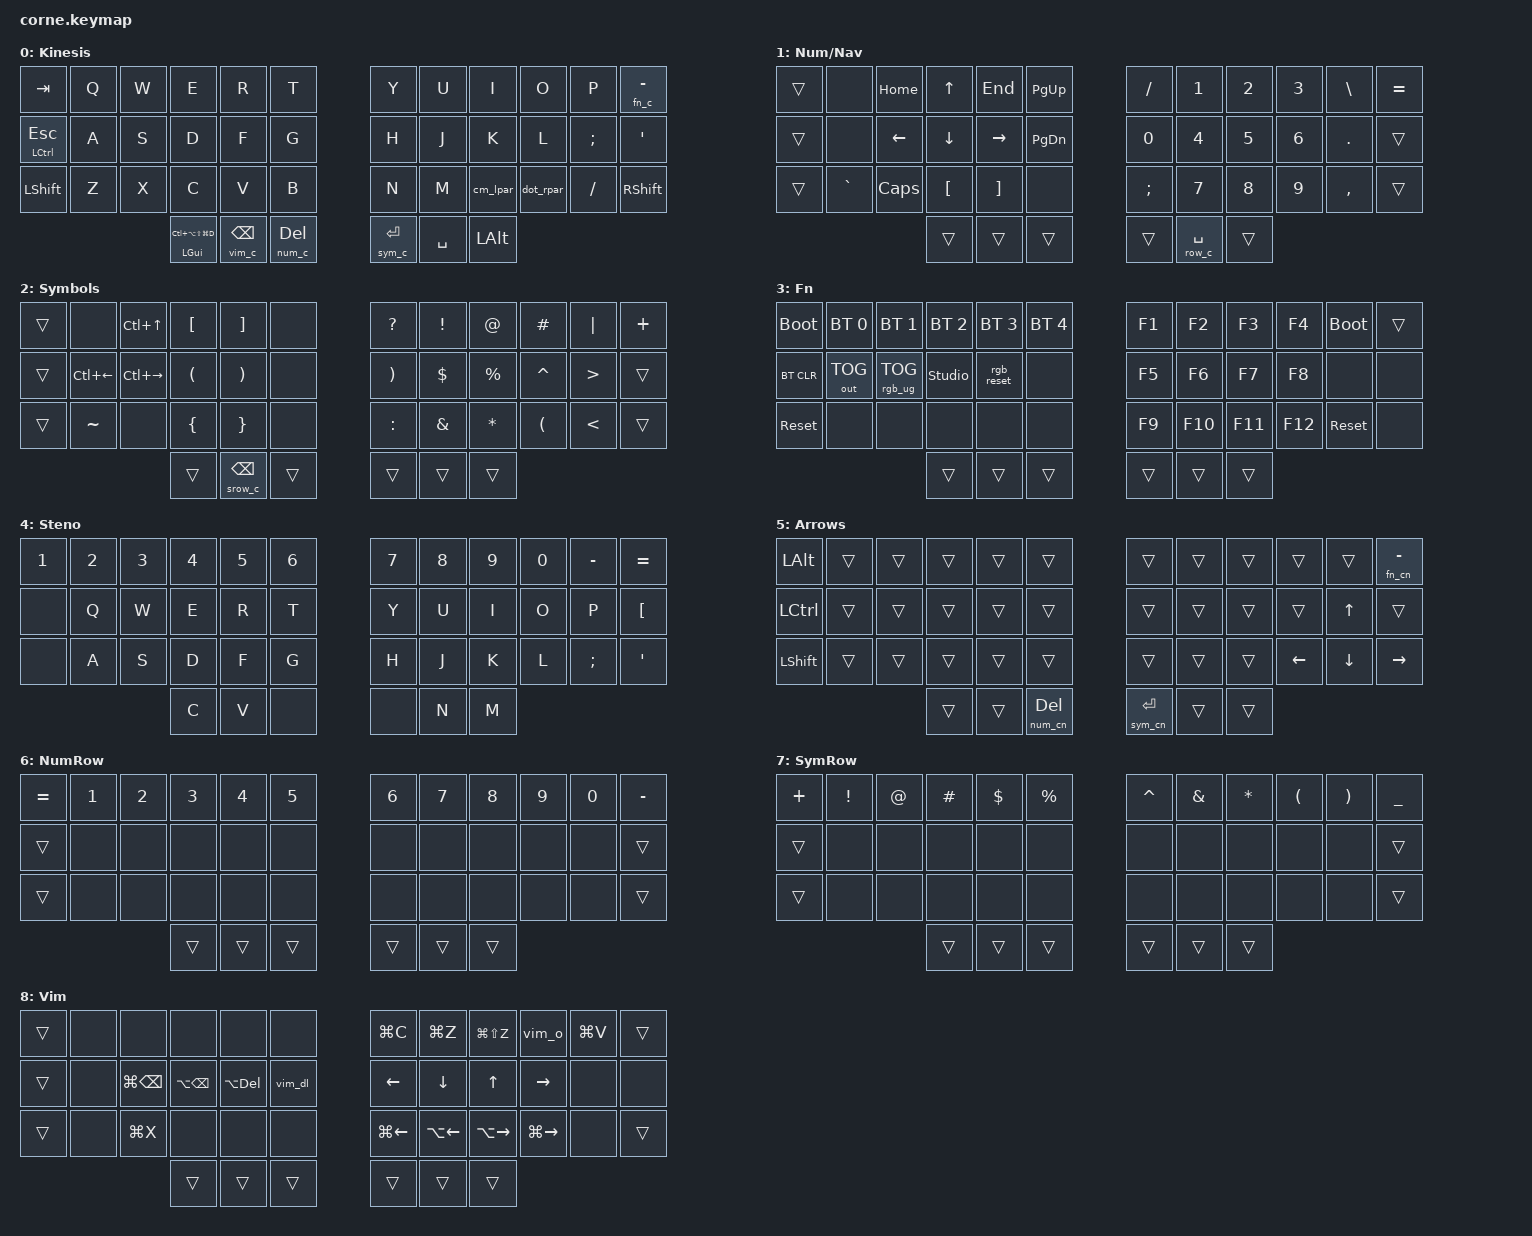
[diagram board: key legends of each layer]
/*
 * Copyright (c) 2020 The ZMK Contributors
 *
 * SPDX-License-Identifier: MIT
 */

#include <behaviors.dtsi>
#include <dt-bindings/zmk/bt.h>
#include <dt-bindings/zmk/keys.h>
#include <dt-bindings/zmk/outputs.h>
#include <dt-bindings/zmk/rgb.h>

#define BASE 0
#define NUM 1
#define SYM 2
#define FN 3
#define STENO 4
#define NAV 5
#define ROW 6
#define SROW 7
#define VIM 8

// Layer signals for the viewer app (viewer/): each layer has a consumer key that
// macOS ignores. Held layers keep theirs down for as long as they are held;
// locked layers (and the way back to base) tap theirs once.
#define SIG_BASE C_MEDIA_TV
#define SIG_NUM C_MEDIA_VCR
#define SIG_SYM C_MEDIA_TUNER
#define SIG_FN C_MEDIA_TAPE
#define SIG_STENO C_MEDIA_CABLE
#define SIG_NAV C_MEDIA_SATELLITE
#define SIG_ROW C_MEDIA_GAMES
#define SIG_SROW C_MEDIA_CD
#define SIG_VIM C_MEDIA_DVD

&mt {
    flavor = "balanced";
    tapping-term-ms = <200>;
    quick-tap-ms = <175>;
};

&lt {
    flavor = "balanced";
    tapping-term-ms = <200>;
    quick-tap-ms = <175>;
};

/ {
    // Layer colours: lights stay off while typing (base) and come on in the
    // layer's colour on any other layer, to save the battery (2026-11-21).
    macros {
        num_c: num_colour {
            compatible = "zmk,behavior-macro";
            #binding-cells = <0>;
            wait-ms = <0>;
            tap-ms = <0>;
            bindings = <&macro_tap &rgb_ug RGB_COLOR_HSB(240,100,25) &rgb_ug RGB_ON>,
                       <&macro_press &mo NUM &kp SIG_NUM>,
                       <&macro_pause_for_release>,
                       <&macro_release &mo NUM &kp SIG_NUM>,
                       <&macro_tap &rgb_ug RGB_OFF>;
        };

        sym_c: sym_colour {
            compatible = "zmk,behavior-macro";
            #binding-cells = <0>;
            wait-ms = <0>;
            tap-ms = <0>;
            bindings = <&macro_tap &rgb_ug RGB_COLOR_HSB(30,100,25) &rgb_ug RGB_ON>,
                       <&macro_press &mo SYM &kp SIG_SYM>,
                       <&macro_pause_for_release>,
                       <&macro_release &mo SYM &kp SIG_SYM>,
                       <&macro_tap &rgb_ug RGB_OFF>;
        };

        // the top-row layers are reached from Num / Symbols, so they fall back to
        // that layer's colour
        row_c: row_colour {
            compatible = "zmk,behavior-macro";
            #binding-cells = <0>;
            wait-ms = <0>;
            tap-ms = <0>;
            bindings = <&macro_tap &rgb_ug RGB_COLOR_HSB(60,100,25) &rgb_ug RGB_ON>,
                       <&macro_press &mo ROW &kp SIG_ROW>,
                       <&macro_pause_for_release>,
                       <&macro_release &mo ROW &kp SIG_ROW>,
                       <&macro_tap &rgb_ug RGB_COLOR_HSB(240,100,25) &rgb_ug RGB_ON>;
        };

        srow_c: sym_row_colour {
            compatible = "zmk,behavior-macro";
            #binding-cells = <0>;
            wait-ms = <0>;
            tap-ms = <0>;
            bindings = <&macro_tap &rgb_ug RGB_COLOR_HSB(330,100,25) &rgb_ug RGB_ON>,
                       <&macro_press &mo SROW &kp SIG_SROW>,
                       <&macro_pause_for_release>,
                       <&macro_release &mo SROW &kp SIG_SROW>,
                       <&macro_tap &rgb_ug RGB_COLOR_HSB(30,100,25) &rgb_ug RGB_ON>;
        };

        fn_c: fn_colour {
            compatible = "zmk,behavior-macro";
            #binding-cells = <0>;
            wait-ms = <0>;
            tap-ms = <0>;
            bindings = <&macro_tap &rgb_ug RGB_COLOR_HSB(280,100,25) &rgb_ug RGB_ON>,
                       <&macro_press &mo FN &kp SIG_FN>,
                       <&macro_pause_for_release>,
                       <&macro_release &mo FN &kp SIG_FN>,
                       <&macro_tap &rgb_ug RGB_OFF>;
        };

        steno_on: steno_on {
            compatible = "zmk,behavior-macro";
            #binding-cells = <0>;
            bindings = <&rgb_ug RGB_COLOR_HSB(120,100,25)>, <&rgb_ug RGB_ON>, <&to STENO>, <&kp SIG_STENO>;
        };

        steno_off: steno_off {
            compatible = "zmk,behavior-macro";
            #binding-cells = <0>;
            bindings = <&rgb_ug RGB_OFF>, <&to BASE>, <&kp SIG_BASE>;
        };

        nav_on: nav_on {
            compatible = "zmk,behavior-macro";
            #binding-cells = <0>;
            bindings = <&rgb_ug RGB_COLOR_HSB(180,100,25)>, <&rgb_ug RGB_ON>, <&to NAV>, <&kp SIG_NAV>;
        };

        nav_off: nav_off {
            compatible = "zmk,behavior-macro";
            #binding-cells = <0>;
            bindings = <&rgb_ug RGB_OFF>, <&to BASE>, <&kp SIG_BASE>;
        };

        // same as num_c / sym_c / fn_c, but fall back to the NAV colour on release
        num_cn: num_colour_nav {
            compatible = "zmk,behavior-macro";
            #binding-cells = <0>;
            wait-ms = <0>;
            tap-ms = <0>;
            bindings = <&macro_tap &rgb_ug RGB_COLOR_HSB(240,100,25) &rgb_ug RGB_ON>,
                       <&macro_press &mo NUM &kp SIG_NUM>,
                       <&macro_pause_for_release>,
                       <&macro_release &mo NUM &kp SIG_NUM>,
                       <&macro_tap &rgb_ug RGB_COLOR_HSB(180,100,25) &rgb_ug RGB_ON>;
        };

        sym_cn: sym_colour_nav {
            compatible = "zmk,behavior-macro";
            #binding-cells = <0>;
            wait-ms = <0>;
            tap-ms = <0>;
            bindings = <&macro_tap &rgb_ug RGB_COLOR_HSB(30,100,25) &rgb_ug RGB_ON>,
                       <&macro_press &mo SYM &kp SIG_SYM>,
                       <&macro_pause_for_release>,
                       <&macro_release &mo SYM &kp SIG_SYM>,
                       <&macro_tap &rgb_ug RGB_COLOR_HSB(180,100,25) &rgb_ug RGB_ON>;
        };

        fn_cn: fn_colour_nav {
            compatible = "zmk,behavior-macro";
            #binding-cells = <0>;
            wait-ms = <0>;
            tap-ms = <0>;
            bindings = <&macro_tap &rgb_ug RGB_COLOR_HSB(280,100,25) &rgb_ug RGB_ON>,
                       <&macro_press &mo FN &kp SIG_FN>,
                       <&macro_pause_for_release>,
                       <&macro_release &mo FN &kp SIG_FN>,
                       <&macro_tap &rgb_ug RGB_COLOR_HSB(180,100,25) &rgb_ug RGB_ON>;
        };

        // hold BSPC: the Vim layer (red); same shape as num_c, lights back off on release
        vim_c: vim_colour {
            compatible = "zmk,behavior-macro";
            #binding-cells = <0>;
            wait-ms = <0>;
            tap-ms = <0>;
            bindings = <&macro_tap &rgb_ug RGB_COLOR_HSB(0,100,25) &rgb_ug RGB_ON>,
                       <&macro_press &mo VIM &kp SIG_VIM>,
                       <&macro_pause_for_release>,
                       <&macro_release &mo VIM &kp SIG_VIM>,
                       <&macro_tap &rgb_ug RGB_OFF>;
        };

        // Vim "o": a new line below this one
        vim_o: vim_open_below {
            compatible = "zmk,behavior-macro";
            #binding-cells = <0>;
            bindings = <&kp LG(RIGHT)>, <&kp ENTER>;
        };

        // delete to the end of the line: select to the end, then delete
        // (Ctrl+K would do it in Mac text fields, but it is a shortcut prefix in VS Code)
        vim_dl: vim_delete_to_end {
            compatible = "zmk,behavior-macro";
            #binding-cells = <0>;
            bindings = <&kp LS(LG(RIGHT))>, <&kp BSPC>;
        };

        // solid effect, lights off (base): use if the colours ever get out of step
        rgb_reset: rgb_reset {
            compatible = "zmk,behavior-macro";
            #binding-cells = <0>;
            bindings = <&rgb_ug RGB_EFS_CMD 0>, <&rgb_ug RGB_OFF>;
        };
    };

    behaviors {
        // , and . as usual, but Shift gives ( ) instead of < > (those live on Symbols)
        cm_lpar: comma_lparen {
            compatible = "zmk,behavior-mod-morph";
            #binding-cells = <0>;
            bindings = <&kp COMMA>, <&kp LPAR>;
            mods = <(MOD_LSFT|MOD_RSFT)>;
        };

        dot_rpar: dot_rparen {
            compatible = "zmk,behavior-mod-morph";
            #binding-cells = <0>;
            bindings = <&kp DOT>, <&kp RPAR>;
            mods = <(MOD_LSFT|MOD_RSFT)>;
        };

        // hold = Command, tap = dictation (Ctrl+Opt+Shift+Cmd+D, the shortcut set
        // in macOS; the same thing Karabiner does for the other keyboards)
        cmd_dict: cmd_tap_dictation {
            compatible = "zmk,behavior-hold-tap";
            #binding-cells = <2>;
            flavor = "hold-preferred";
            tapping-term-ms = <200>;
            bindings = <&kp>, <&kp>;
        };

        // tap = key, hold = NUM layer (blue)
        ltn: layer_tap_num {
            compatible = "zmk,behavior-hold-tap";
            #binding-cells = <2>;
            flavor = "balanced";
            tapping-term-ms = <200>;
            quick-tap-ms = <175>;
            bindings = <&num_c>, <&kp>;
        };

        ltnn: layer_tap_num_nav {
            compatible = "zmk,behavior-hold-tap";
            #binding-cells = <2>;
            flavor = "balanced";
            tapping-term-ms = <200>;
            quick-tap-ms = <175>;
            bindings = <&num_cn>, <&kp>;
        };

        // tap = key, hold = SYM layer (orange)
        lts: layer_tap_sym {
            compatible = "zmk,behavior-hold-tap";
            #binding-cells = <2>;
            flavor = "balanced";
            tapping-term-ms = <200>;
            quick-tap-ms = <175>;
            bindings = <&sym_c>, <&kp>;
        };

        ltsn: layer_tap_sym_nav {
            compatible = "zmk,behavior-hold-tap";
            #binding-cells = <2>;
            flavor = "balanced";
            tapping-term-ms = <200>;
            quick-tap-ms = <175>;
            bindings = <&sym_cn>, <&kp>;
        };

        // tap = key, hold = number row (yellow) / symbol row (pink)
        ltr: layer_tap_row {
            compatible = "zmk,behavior-hold-tap";
            #binding-cells = <2>;
            flavor = "balanced";
            tapping-term-ms = <200>;
            quick-tap-ms = <175>;
            bindings = <&row_c>, <&kp>;
        };

        ltsr: layer_tap_sym_row {
            compatible = "zmk,behavior-hold-tap";
            #binding-cells = <2>;
            flavor = "balanced";
            tapping-term-ms = <200>;
            quick-tap-ms = <175>;
            bindings = <&srow_c>, <&kp>;
        };

        ltfn: layer_tap_fn_nav {
            compatible = "zmk,behavior-hold-tap";
            #binding-cells = <2>;
            flavor = "balanced";
            tapping-term-ms = <200>;
            quick-tap-ms = <175>;
            bindings = <&fn_cn>, <&kp>;
        };

        // tap = BSPC, hold = VIM layer (red); tap then hold quickly still repeats BSPC
        ltv: layer_tap_vim {
            compatible = "zmk,behavior-hold-tap";
            #binding-cells = <2>;
            flavor = "balanced";
            tapping-term-ms = <200>;
            quick-tap-ms = <175>;
            bindings = <&vim_c>, <&kp>;
        };

        // tap = key, hold = FN layer (purple)
        ltf: layer_tap_fn {
            compatible = "zmk,behavior-hold-tap";
            #binding-cells = <2>;
            flavor = "balanced";
            tapping-term-ms = <200>;
            quick-tap-ms = <175>;
            bindings = <&fn_c>, <&kp>;
        };
    };

    combos {
        compatible = "zmk,combos";

        // both inner thumb keys together: steno on (green) / off (white)
        steno_enter {
            timeout-ms = <50>;
            bindings = <&steno_on>;
            key-positions = <38 39>;
            layers = <BASE>;
        };

        // both outer thumb keys together: arrows layer on (cyan) / off (white)
        nav_enter {
            timeout-ms = <50>;
            bindings = <&nav_on>;
            key-positions = <36 41>;
            layers = <BASE>;
        };

        nav_exit {
            timeout-ms = <50>;
            bindings = <&nav_off>;
            key-positions = <36 41>;
            layers = <NAV>;
        };

        steno_exit {
            timeout-ms = <50>;
            bindings = <&steno_off>;
            key-positions = <38 39>;
            layers = <STENO>;
        };
    };

    keymap {
        compatible = "zmk,keymap";

        default_layer {
            display-name = "Kinesis";
            // Kinesis Advantage360 letter block and thumb order.
            // -----------------------------------------------------------------------------------------
            // |  TAB |  Q  |  W  |  E  |  R  |  T  |   |  Y  |  U  |  I  |  O  |  P  | - FN |
            // |ESC/CT|  A  |  S  |  D  |  F  |  G  |   |  H  |  J  |  K  |  L  |  ;  |  '   |
            // | SHFT |  Z  |  X  |  C  |  V  |  B  |   |  N  |  M  | , ( | . ) |  /  | SHFT |
            //                    | CMD | BSPC| DEL |   | ENT | SPC | ALT |
            //                          (hold DEL for numbers, ENT for their symbols, BSPC for Vim)
            // LEDs: off here, blue on Num/Nav, orange on Symbols, purple on Fn, green on Steno

            bindings = <
&kp TAB        &kp Q  &kp W  &kp E     &kp R     &kp T          &kp Y          &kp U      &kp I      &kp O    &kp P     &ltf 0 MINUS
&mt LCTRL ESC  &kp A  &kp S  &kp D     &kp F     &kp G          &kp H          &kp J      &kp K      &kp L    &kp SEMI  &kp SQT
&kp LSHFT      &kp Z  &kp X  &kp C     &kp V     &kp B          &kp N          &kp M      &cm_lpar   &dot_rpar  &kp FSLH  &kp RSHFT
                             &cmd_dict LGUI LC(LA(LS(LG(D))))  &ltv 0 BSPC  &ltn 0 DEL    &lts 0 ENTER  &kp SPACE  &kp LALT
            >;
        };

        num_layer {
            display-name = "Num/Nav";
            // Numpad under the right hand, reading 1 2 3 from the top; arrow cluster under the left.
            // -----------------------------------------------------------------------------------------
            // |      |     | HOME|  UP | END | PGUP|   |  /  |  1  |  2  |  3  |  \  |  =   |
            // |      |     | LFT | DWN | RGT | PGDN|   |  0  |  4  |  5  |  6  |  .  |      |
            // |      |  `  | CAPS|  [  |  ]  |     |   |  ;  |  7  |  8  |  9  |  ,  |      |
            //                          (also hold SPC for the number row across the top)

            bindings = <
&trans  &none      &kp HOME  &kp UP    &kp END    &kp PG_UP    &kp FSLH  &kp N1  &kp N2  &kp N3  &kp BSLH   &kp EQUAL
&trans  &none      &kp LEFT  &kp DOWN  &kp RIGHT  &kp PG_DN    &kp N0    &kp N4  &kp N5  &kp N6  &kp DOT    &trans
&trans  &kp GRAVE  &kp CAPS  &kp LBKT  &kp RBKT   &none        &kp SEMI  &kp N7  &kp N8  &kp N9  &kp COMMA  &trans
                             &trans    &trans     &trans       &trans    &ltr 0 SPACE  &trans
            >;
        };

        sym_layer {
            display-name = "Symbols";
            // Right hand: the Num layer with shift already held, same positions.
            // Left hand: the bracket pairs, opposite the thumb that holds the layer.
            // -----------------------------------------------------------------------------------------
            // Far left: Mission Control over desktop left / right (Ctrl + arrows).
            // |      |     | MCTL|  [  |  ]  |     |   |  ?  |  !  |  @  |  #  |  |  |  +   |
            // |      | DSK<| DSK>|  (  |  )  |     |   |  )  |  $  |  %  |  ^  |  >  |      |
            // |      |  ~  |     |  {  |  }  |     |   |  :  |  &  |  *  |  (  |  <  |      |
            //                          (also hold BSPC for the symbol row across the top)

            bindings = <
&trans  &none         &kp LC(UP)     &kp LBKT  &kp RBKT  &none    &kp QMARK  &kp EXCL  &kp AT     &kp HASH   &kp PIPE   &kp PLUS
&trans  &kp LC(LEFT)  &kp LC(RIGHT)  &kp LPAR  &kp RPAR  &none    &kp RPAR   &kp DLLR  &kp PRCNT  &kp CARET  &kp GT     &trans
&trans  &kp TILDE      &none          &kp LBRC  &kp RBRC  &none    &kp COLON  &kp AMPS  &kp STAR   &kp LPAR   &kp LT     &trans
                             &trans    &ltsr 0 BSPC  &trans    &trans     &trans    &trans
            >;
        };

        fn_layer {
            display-name = "Fn";
            // Hold the top-right key (-).
            // -----------------------------------------------------------------------------------------
            // | BOOT | BT1 | BT2 | BT3 | BT4 | BT5 |   | F1  | F2  | F3  | F4  | BOOT |     |
            // | BTCLR| USB/BT | RGB | STUDIO | RGB RESET |     |   | F5  | F6  | F7  | F8  |      |     |
            // | RESET|     |     |     |     |     |   | F9  | F10 | F11 | F12 | RESET|     |

            bindings = <
&bootloader  &bt BT_SEL 0  &bt BT_SEL 1     &bt BT_SEL 2    &bt BT_SEL 3  &bt BT_SEL 4    &kp F1  &kp F2   &kp F3   &kp F4   &bootloader  &trans
&bt BT_CLR   &out OUT_TOG  &rgb_ug RGB_TOG  &studio_unlock  &rgb_reset    &none           &kp F5  &kp F6   &kp F7   &kp F8   &none        &none
&sys_reset   &none         &none            &none           &none         &none           &kp F9  &kp F10  &kp F11  &kp F12  &sys_reset   &none
                                            &trans          &trans        &trans          &trans  &trans   &trans
            >;
        };

        steno_layer {
            display-name = "Steno";
            // Sends the keys Plover's "Keyboard" machine expects. Top row is the number bar.
            // -----------------------------------------------------------------------------------------
            // |  #   |  #  |  #  |  #  |  #  |  #  |   |  #  |  #  |  #  |  #  |  #  |  #   |
            // |      |  S  |  T  |  P  |  H  |  *  |   |  *  |  F  |  P  |  L  |  T  |  D   |
            // |      |  S  |  K  |  W  |  R  |  *  |   |  *  |  R  |  B  |  G  |  S  |  Z   |
            //                    |  A  |  O  |     |   |     |  E  |  U  |

            bindings = <
&kp N1  &kp N2  &kp N3  &kp N4  &kp N5  &kp N6    &kp N7  &kp N8  &kp N9  &kp N0  &kp MINUS  &kp EQUAL
&none   &kp Q   &kp W   &kp E   &kp R   &kp T     &kp Y   &kp U   &kp I   &kp O   &kp P      &kp LBKT
&none   &kp A   &kp S   &kp D   &kp F   &kp G     &kp H   &kp J   &kp K   &kp L   &kp SEMI   &kp SQT
                        &kp C   &kp V   &none     &none   &kp N   &kp M
            >;
        };

        nav_layer {
            display-name = "Arrows";
            // Locks on. Typing still works; the bottom-right corner becomes an arrow
            // cluster and the left edge is Option / Ctrl / Shift for word moves and selection.
            // -----------------------------------------------------------------------------------------
            // | OPT  |     |     |     |     |     |   |     |     |     |     |     |      |
            // | CTRL |     |     |     |     |     |   |     |     |     |     |  UP |      |
            // | SHFT |     |     |     |     |     |   |     |     |     | LFT | DWN | RGT  |

            bindings = <
&kp LALT   &trans  &trans  &trans  &trans  &trans         &trans           &trans  &trans  &trans    &trans    &ltfn 0 MINUS
&kp LCTRL  &trans  &trans  &trans  &trans  &trans         &trans           &trans  &trans  &trans    &kp UP    &trans
&kp LSHFT  &trans  &trans  &trans  &trans  &trans         &trans           &trans  &trans  &kp LEFT  &kp DOWN  &kp RIGHT
                           &trans  &trans  &ltnn 0 DEL    &ltsn 0 ENTER    &trans  &trans
            >;
        };

        row_layer {
            display-name = "NumRow";
            // Hold DEL (Num), then SPC. Just the classic number row.
            // -----------------------------------------------------------------------------------------
            // |  =   |  1  |  2  |  3  |  4  |  5  |   |  6  |  7  |  8  |  9  |  0  |  -   |

            bindings = <
&kp EQUAL  &kp N1  &kp N2  &kp N3  &kp N4  &kp N5    &kp N6  &kp N7  &kp N8  &kp N9  &kp N0  &kp MINUS
&trans     &none   &none   &none   &none   &none     &none   &none   &none   &none   &none   &trans
&trans     &none   &none   &none   &none   &none     &none   &none   &none   &none   &none   &trans
                           &trans  &trans  &trans    &trans  &trans  &trans
            >;
        };

        sym_row_layer {
            display-name = "SymRow";
            // Hold ENT (Symbols), then BSPC. The number row's symbols, in the same places.
            // -----------------------------------------------------------------------------------------
            // |  +   |  !  |  @  |  #  |  $  |  %  |   |  ^  |  &  |  *  |  (  |  )  |  _   |

            bindings = <
&kp PLUS  &kp EXCL  &kp AT  &kp HASH  &kp DLLR  &kp PRCNT    &kp CARET  &kp AMPS  &kp STAR  &kp LPAR  &kp RPAR  &kp UNDER
&trans    &none     &none   &none     &none     &none        &none      &none     &none     &none     &none     &trans
&trans    &none     &none   &none     &none     &none        &none      &none     &none     &none     &none     &trans
                            &trans    &trans    &trans       &trans     &trans    &trans
            >;
        };

        vim_layer {
            display-name = "Vim";
            // Hold BSPC. Right hand moves, left hand deletes, both in the order
            // line start / word back / word forward / line end. Add Shift to select.
            // -----------------------------------------------------------------------------------------
            // |      |     |     |     |     |     |   | COPY| UNDO| REDO|OPEN↓|PASTE|      |
            // |      |     |⌫LINE|⌫WORD|⌦WORD|⌦LINE|   |  ←  |  ↓  |  ↑  |  →  |     |      |
            // |      |     | CUT |     |     |     |   |LINE◀|WORD◀|WORD▶|LINE▶|     |      |

            bindings = <
&trans  &none  &none        &none        &none        &none       &kp LG(C)     &kp LG(Z)     &kp LG(LS(Z))  &vim_o         &kp LG(V)  &trans
&trans  &none  &kp LG(BSPC) &kp LA(BSPC) &kp LA(DEL)  &vim_dl     &kp LEFT      &kp DOWN      &kp UP         &kp RIGHT      &none      &none
&trans  &none  &kp LG(X)    &none        &none        &none       &kp LG(LEFT)  &kp LA(LEFT)  &kp LA(RIGHT)  &kp LG(RIGHT)  &none      &trans
                            &trans       &trans       &trans      &trans        &trans        &trans
            >;
        };
    };
};
